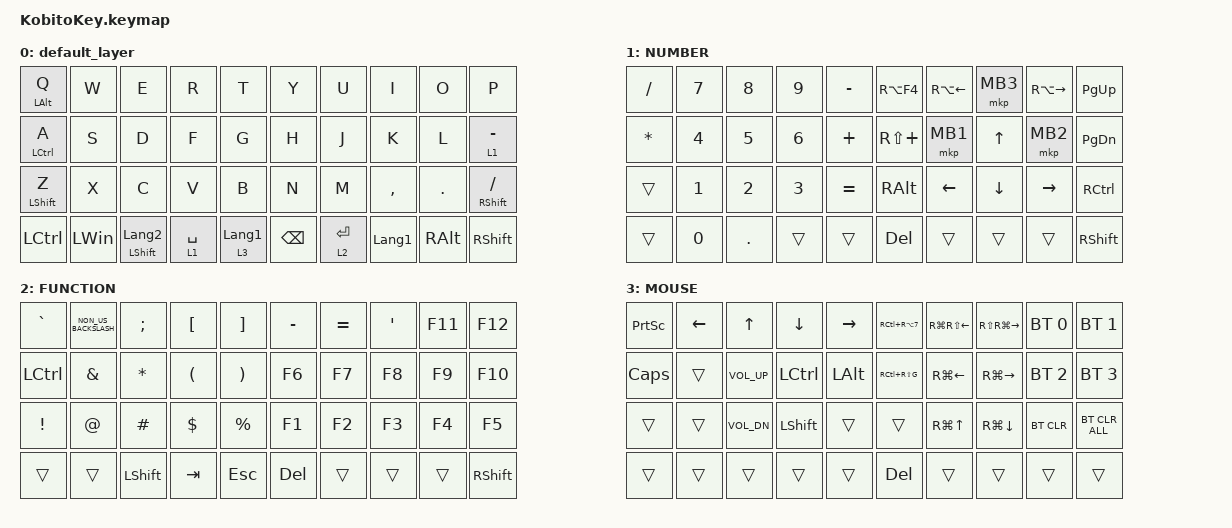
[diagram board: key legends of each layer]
#include <input/processors.dtsi>
#include <behaviors.dtsi>
#include <dt-bindings/zmk/bt.h>
#include <dt-bindings/zmk/keys.h>
#include <dt-bindings/zmk/pointing.h>

&mt {
    flavor = "balanced";
    quick-tap-ms = <0>;
};

/ {
    combos { compatible = "zmk,combos"; };

    keymap {
        compatible = "zmk,keymap";

        default_layer {
            bindings = <
&mt LEFT_ALT Q      &kp W         &kp E                      &kp R        &kp T             &kp Y     &kp U        &kp I           &kp O          &kp P
&mt LEFT_CONTROL A  &kp S         &kp D                      &kp F        &kp G             &kp H     &kp J        &kp K           &kp L          &lt 1 MINUS
&mt LEFT_SHIFT Z    &kp X         &kp C                      &kp V        &kp B             &kp N     &kp M        &kp COMMA       &kp DOT        &mt RIGHT_SHIFT SLASH
&kp LEFT_CONTROL    &kp LEFT_WIN  &mt LEFT_SHIFT LANGUAGE_2  &lt 1 SPACE  &lt 3 LANGUAGE_1  &kp BSPC  &lt 2 ENTER  &kp LANGUAGE_1  &kp RIGHT_ALT  &kp RIGHT_SHIFT
            >;
        };

        layer1 {
            label = "NUMBER";
            bindings = <
&kp SLASH     &kp NUMBER_7  &kp NUMBER_8  &kp NUMBER_9  &kp MINUS  &kp RA(F4)     &kp RA(LEFT_ARROW)  &mkp MB3      &kp RA(RIGHT)  &kp PAGE_UP
&kp ASTERISK  &kp NUMBER_4  &kp NUMBER_5  &kp NUMBER_6  &kp PLUS   &kp RS(PLUS)   &mkp MB1            &kp UP_ARROW  &mkp MB2       &kp PAGE_DOWN
&trans        &kp NUMBER_1  &kp NUMBER_2  &kp NUMBER_3  &kp EQUAL  &kp RIGHT_ALT  &kp LEFT_ARROW      &kp DOWN      &kp RIGHT      &kp RIGHT_CONTROL
&trans        &kp NUMBER_0  &kp PERIOD    &trans        &trans     &kp DELETE     &trans              &trans        &trans         &kp RIGHT_SHIFT
            >;
        };

        layer2 {
            label = "FUNCTION";
            bindings = <
&kp GRAVE        &kp NON_US_BACKSLASH  &kp SEMICOLON   &kp LEFT_BRACKET      &kp RIGHT_BRACKET      &kp MINUS  &kp EQUAL  &kp SINGLE_QUOTE  &kp F11  &kp F12
&kp LCTRL        &kp AMPERSAND         &kp ASTERISK    &kp LEFT_PARENTHESIS  &kp RIGHT_PARENTHESIS  &kp F6     &kp F7     &kp F8            &kp F9   &kp F10
&kp EXCLAMATION  &kp AT_SIGN           &kp HASH        &kp DOLLAR            &kp PERCENT            &kp F1     &kp F2     &kp F3            &kp F4   &kp F5
&trans           &trans                &kp LEFT_SHIFT  &kp TAB               &kp ESCAPE             &kp DEL    &trans     &trans            &trans   &kp RIGHT_SHIFT
            >;
        };

        layer3 {
            label = "MOUSE";
            bindings = <
&kp PRINTSCREEN  &kp LEFT  &kp UP_ARROW     &kp DOWN          &kp RIGHT     &kp RC(RA(NUMBER_7))  &kp RG(RS(LEFT))  &kp RS(RG(RIGHT))  &bt BT_SEL 0  &bt BT_SEL 1
&kp CAPSLOCK     &trans    &kp C_VOLUME_UP  &kp LEFT_CONTROL  &kp LEFT_ALT  &kp RC(RS(G))         &kp RG(LEFT)      &kp RG(RIGHT)      &bt BT_SEL 2  &bt BT_SEL 3
&trans           &trans    &kp C_VOL_DN     &kp LEFT_SHIFT    &trans        &trans                &kp RG(UP_ARROW)  &kp RG(DOWN)       &bt BT_CLR    &bt BT_CLR_ALL
&trans           &trans    &trans           &trans            &trans        &kp DELETE            &trans            &trans             &trans        &trans
            >;
        };
    };
};
